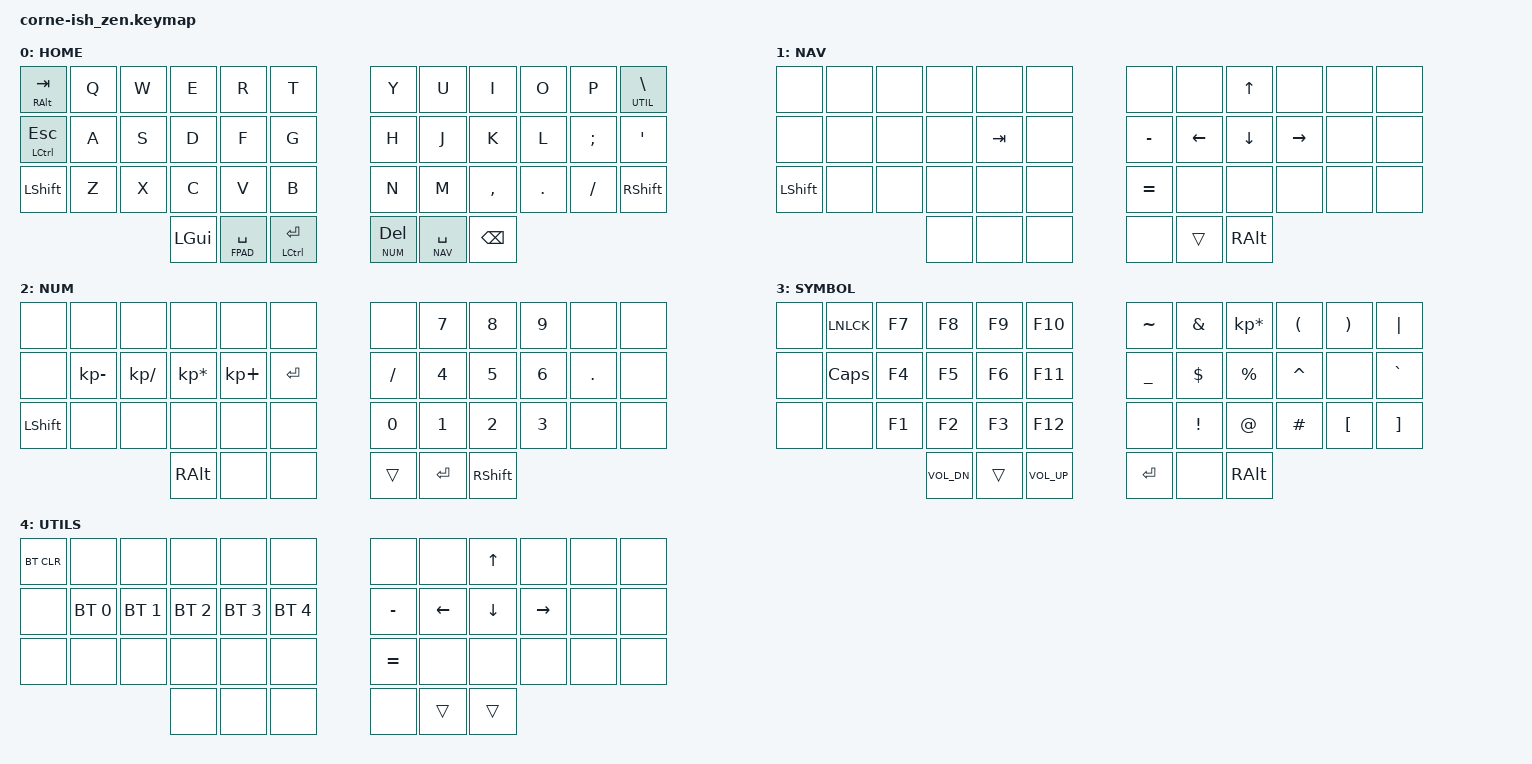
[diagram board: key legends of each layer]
/*
*
* Copyright (c) 2021 Darryl deHaan
* SPDX-License-Identifier: MIT
*
*/

#include <behaviors.dtsi>
#include <dt-bindings/zmk/keys.h>
#include <dt-bindings/zmk/bt.h>

#define QWERTY 0
#define NAV 1
#define NUM 2
#define FPAD 3
#define UTIL 4

/ {
        keymap {
                compatible = "zmk,keymap";

                default_layer {
                        label = "HOME";
// -----------------------------------------------------------------------------------------
// |  TAB |  Q  |  W  |  E  |  R  |  T  |   |  Y  |  U   |  I  |  O  |  P  | BSLH |
// | CTRL |  A  |  S  |  D  |  F  |  G  |   |  H  |  J   |  K  |  L  |  ;  |  '   |
// | SHFT |  Z  |  X  |  C  |  V  |  B  |   |  N  |  M   |  ,  |  .  |  /  | ESC  |
//                    | RALT| LWR | SPC |   | ENT | RSE  | BKSP|
                        bindings = <
   &mt RALT TAB &kp Q &kp W &kp E &kp R &kp T   &kp Y &kp U  &kp I     &kp O   &kp P    &lt UTIL BSLH
   &mt LCTRL ESC &kp A &kp S &kp D &kp F &kp G      &kp H &kp J  &kp K     &kp L   &kp SEMI &kp SQT
   &kp LSHFT &kp Z &kp X &kp C &kp V &kp B      &kp N &kp M  &kp COMMA &kp DOT &kp FSLH &kp RSHFT
             &kp LGUI &lt FPAD SPC &mt LCTRL RET      	&lt NUM DEL &lt NAV SPC &kp BKSP
                        >;
                };
                nav_layer {
                        label = "NAV";
// -----------------------------------------------------------------------------------------
// |  x   |  x  |  x  |  x  |  x  |  x  |   |  x  |  x  |  UP |  x  |  x  |   x  |
// | x    | x   | x   | x   | TAB | x   |   |Minus| Left| Down| RGT |     |      |
// | SHFT |     |     |     |     |     |   |     |     |     |     |     |      |
//                    |     |     |     |   |     |     | ALT |
                        bindings = <
   &none    &none  &none  &none  &none  &none      &none   &none   &kp UP &none    &none &none
   &none &none &none &none &kp TAB &none   			 &kp MINUS &kp LEFT &kp DOWN &kp RIGHT &none &none
   &kp LSHFT  &none  &none &none &none &none        &kp EQUAL   &none   &none &none    &none &none
						&none 	 &none   &none       &none  &trans  &kp RALT
                        >;
                };
                num_layer {
                        label = "NUM";
// -----------------------------------------------------------------------------------------
// |  x   |  x  |  x  |  x  |  x  |  x  |   |  x  |  7  |  8  |  9  |  x  |   x  |
// | x    | x   | x   | x   | x   | x   |   |  /  |  4  |  5  |  6  |  .  |      |
// | SHFT |     |     |     |     |     |   |  0  |  1  |  2  |  3  |     |      |
//                    |     |     |     |   |     | ENT |   |
                        bindings = <
   &none    &none  &none  &none  &none  &none      								&none   &kp N7 &kp N8 &kp N9 &none &none
   &none &kp KP_MINUS &kp KP_DIVIDE &kp KP_MULTIPLY &kp KP_PLUS &kp RET   		&kp FSLH &kp N4 &kp N5 &kp N6 &kp DOT &none
   &kp LSHFT  &none  &none &none &none &none        							&kp N0   &kp N1 &kp N2 &kp N3 &none &none
						&kp RALT &none   &none       							&trans  &kp RET   &kp RSHFT
                        >;
                };
                fpad_layer {
                        label = "SYMBOL";
// -----------------------------------------------------------------------------------------
// |      | NMLK|  F7 |  F8 | F9  | F10 |   |  ~  |  &  |  *  |  (  |  )  |  |   |
// |      | CAPS|  F4 |  F5 | F6  | F11 |   |  _  |  $  |  %  |  ^  |     |  `   |
// |      |     |  F1 |  F2 | F3  | F12 |   |     |  !  |  @  |  #  |  [  |  ]   |
//                    | VOLD|     | VOLU|   | ENT |     | ALT |
                        bindings = <
   &none  &kp LNLCK &kp F7 &kp F8 &kp F9 &kp F10   			&kp TILDE &kp AMPS  &kp KP_MULTIPLY &kp LPAR &kp RPAR &kp PIPE
   &none &kp CAPS   &kp F4 &kp F5  &kp F6  &kp F11      		&kp UNDER &kp DLLR &kp PRCNT &kp CARET &none &kp GRAVE
   &none &none   &kp F1 &kp F2  &kp F3   &kp F12     			&none &kp EXCL  &kp AT  &kp HASH &kp LBKT &kp RBKT
                    	     &kp C_VOL_DN &trans &kp C_VOL_UP   &kp RET   &none    &kp RALT
                        >;
                };
                util_layer {
                        label = "UTILS";
// -----------------------------------------------------------------------------------------
// |  x   |  x  |  x  |  x  |  x  |  x  |   |  x  |  x  |  UP |  x  |  x  |   x  |
// | x    | x   | x   | x   | x   | x   |   |Minus| Left| Down| RGT |     |      |
// | SHFT |     |     |     |     |     |   |     |     |     |     |     |      |
//                    |     |     |     |   |     |     | ALT |
                        bindings = <
   &bt BT_CLR  &none  &none  &none  &none  &none      						&none   &none   &kp UP &none    &none &none
   &none &bt BT_SEL 0 &bt BT_SEL 1 &bt BT_SEL 2 &bt BT_SEL 3 &bt BT_SEL 4  	&kp MINUS &kp LEFT &kp DOWN &kp RIGHT &none &none
   &none  &none  &none &none &none &none        							&kp EQUAL   &none   &none &none    &none &none
						&none 	 &none   &none       							&none  &trans  &trans
                        >;
                };
        };
};
